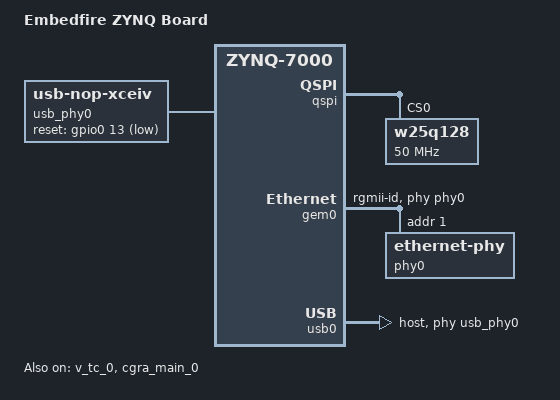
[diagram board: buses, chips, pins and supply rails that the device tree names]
#include <dt-bindings/gpio/gpio.h>
#include <dt-bindings/input/input.h>
#include <dt-bindings/interrupt-controller/irq.h>
#include <dt-bindings/phy/phy.h>

/ {
    model = "Embedfire ZYNQ Board";
    compatible = "xlnx,zynq-khoi", "xlnx,zynq-7000";

    cpus {
        cpu@0 {
            operating-points = <666667 1000000 333334 1000000>;
        };
    };

    chosen {
        bootargs = "console=ttyPS0,115200 earlycon uio_pdrv_genirq.of_id=generic-uio";
        stdout-path = "serial0:115200n8";
    };

    reserved-memory {
        #address-cells = <1>;
        #size-cells = <1>;
        ranges;

        hdmi_fb0: framebuffer@1f000000 {
            no-map;
            reg = <0x1f000000 0x00800000>;
        };
    };

    usb_phy0: usb_phy@0 {
        compatible = "usb-nop-xceiv";
        #phy-cells = <0>;
        reset-gpios = <&gpio0 13 GPIO_ACTIVE_LOW>;
    };
};

&qspi {
    w25q128: w25q128@0 {
        #address-cells = <1>;
        #size-cells = <1>;
        spi-rx-bus-width = <4>;
        spi-tx-bus-width = <4>;
        compatible = "w25q128", "jedec,spi-nor";
        reg = <0>;
        spi-max-frequency = <50000000>;
    };
};

&gem0 {
    status = "okay";
    local-mac-address = [00 0a 35 20 8b 89];
    phy-mode = "rgmii-id";
    phy-handle = <&phy0>;

    phy0: ethernet-phy@1 { /* RTL8211E-V */
        reg = <0x1>;
        device_type = "ethernet-phy";
    };
};

&usb_phy0 {
    status = "okay";
    reset-gpios = <&gpio0 13 GPIO_ACTIVE_LOW>;
};

&usb0 {
    status = "okay";
    dr_mode = "host";
    usb-phy = <&usb_phy0>;
};

/*
 * Để nguyên compatible gốc cho các IP HDMI pipeline.
 * App userspace bản patch này sẽ truy cập bằng /dev/mem nên không cần UIO.
 */
&axi_dynclk_0 {
    status = "okay";
};

&axi_vdma_0 {
    status = "okay";
};

&v_tc_0 {
    status = "okay";
};


// Cho cgra IP
&cgra_main_0 {
    compatible = "generic-uio";
    status = "okay";
};



